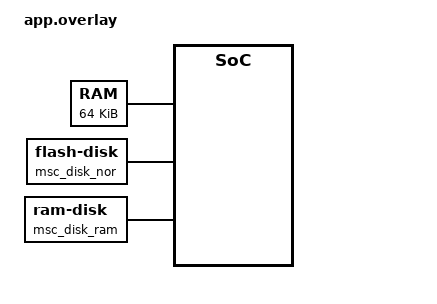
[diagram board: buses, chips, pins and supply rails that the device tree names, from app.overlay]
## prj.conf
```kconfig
CONFIG_LOG=y
CONFIG_PRINTK=y

# The following zephyr cast results in temporary high stack usage on the thread mounting FATFS.
# While the FATFS structs are static and thus do not take up any space on the stack, C casts
# create a temporary variable and as the FATFS struct is ~4KB this results in high stack usage.
# C:\ncs\vX.X.X\zephyr\subsys\fs\fat_fs.c:451 `f_mount((FATFS *)mountp->fs_data, ...);`
CONFIG_MAIN_STACK_SIZE=8192

CONFIG_NORDIC_QSPI_NOR=y
CONFIG_NORDIC_QSPI_NOR_FLASH_LAYOUT_PAGE_SIZE=4096

CONFIG_FLASH=y
CONFIG_FLASH_MAP=y
CONFIG_DISK_ACCESS=y
CONFIG_DISK_DRIVERS=y
CONFIG_DISK_DRIVER_RAM=y
CONFIG_DISK_DRIVER_FLASH=y
CONFIG_FILE_SYSTEM=y
CONFIG_FAT_FILESYSTEM_ELM=y

CONFIG_FS_FATFS_MAX_SS=4096
```

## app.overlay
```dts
/ {
    chosen {
        nordic,pm-ext-flash = &mx25r64;
    };
    disk_nor: mx25r64 {
        /*
         * NOTE: Actual partition placement and size is controlled by the partition manager.
         * Instead of creating an ignored partition in device tree we can
         * create this empty phandle to enable the flash-disk driver.
         *
         * The sector-size configuration is also not passed to FATFS
         * and must be set with CONFIG_FS_FATFS_MAX_SS in the prj.conf
         */
    };
    disk_ram: memory@20060000 {
        compatible = "mmio-sram";
        reg = <0x20060000 0x00010000>;
    };
    msc_disk_nor {
        status = "okay";
        compatible = "zephyr,flash-disk";
        partition = <&disk_nor>;
        disk-name = "SD";
        sector-size = <4096>;
        cache-size = <4096>;
    };
    msc_disk_ram {
        status = "okay";
        compatible = "zephyr,ram-disk";
        disk-name = "RAM";
        sector-size = <512>;
        sector-count = <128>;
        ram-region = <&disk_ram>;
    };
};
```

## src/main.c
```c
#include <zephyr/kernel.h>
#include <zephyr/device.h>
#include <zephyr/storage/disk_access.h>
#include <zephyr/logging/log.h>
#include <zephyr/fs/fs.h>

#include <ff.h>

/*
 *  Note the fatfs library is able to mount only strings inside _VOLUME_STRS
 *  in ffconf.h
 */
#define DISK_DRIVE_NAME "SD"
#define DISK_MOUNT_PT "/"DISK_DRIVE_NAME":"

static FATFS fat_fs;
static struct fs_mount_t mp = {
    .type = FS_FATFS,
    .fs_data = &fat_fs,
};

#define FS_RET_OK FR_OK

LOG_MODULE_REGISTER(fs_sample_main, LOG_LEVEL_DBG);

#define MAX_PATH 128
#define SOME_FILE_NAME "some.dat"
#define SOME_DIR_NAME "some"
#define SOME_REQUIRED_LEN MAX(sizeof(SOME_FILE_NAME), sizeof(SOME_DIR_NAME))

static int lsdir(const char *path);
static bool create_some_entries(const char *base_path)
{
    char path[MAX_PATH];
    struct fs_file_t file;
    int base = strlen(base_path);

    fs_file_t_init(&file);

    if (base >= (sizeof(path) - SOME_REQUIRED_LEN)) {
        LOG_ERR("Not enough concatenation buffer to create file paths");
        return false;
    }

    LOG_INF("Creating some dir entries in %s", base_path);
    strncpy(path, base_path, sizeof(path));

    path[base++] = '/';
    path[base] = 0;
    strcat(&path[base], SOME_FILE_NAME);

    if (fs_open(&file, path, FS_O_CREATE) != 0) {
        LOG_ERR("Failed to create file %s", path);
        return false;
    }
    fs_close(&file);

    path[base] = 0;
    strcat(&path[base], SOME_DIR_NAME);

    if (fs_mkdir(path) != 0) {
        LOG_ERR("Failed to create dir %s", path);
    }
    return true;
}

static const char *disk_mount_pt = DISK_MOUNT_PT;

int main(void)
{
    do {
        static const char *disk_pdrv = DISK_DRIVE_NAME;
        uint64_t memory_size_mb;
        uint32_t block_count;
        uint32_t block_size;

        if (disk_access_ioctl(disk_pdrv,
                DISK_IOCTL_CTRL_INIT, NULL) != 0) {
            LOG_ERR("Storage init ERROR!");
            break;
        }

        if (disk_access_ioctl(disk_pdrv,
                DISK_IOCTL_GET_SECTOR_COUNT, &block_count)) {
            LOG_ERR("Unable to get sector count");
            break;
        }
        LOG_INF("Block count %u", block_count);

        if (disk_access_ioctl(disk_pdrv,
                DISK_IOCTL_GET_SECTOR_SIZE, &block_size)) {
            LOG_ERR("Unable to get sector size");
            break;
        } else if (block_size > sizeof(fat_fs.win)) {
            LOG_ERR("Sector size %u is larger than FF_MAX_SS %u\n\
                    set CONFIG_FS_FATFS_MAX_SS=%u\n",
                    block_size, sizeof(fat_fs.win), block_size);
            break;
        } else {
            printk("Sector size %u\n", block_size);
        }

        memory_size_mb = (uint64_t)block_count * block_size;
        printk("Memory Size(MB) %u\n", (uint32_t)(memory_size_mb >> 20));

        if (disk_access_ioctl(disk_pdrv,
                DISK_IOCTL_CTRL_DEINIT, NULL) != 0) {
            LOG_ERR("Storage deinit ERROR!");
            break;
        }
    } while (0);

    mp.mnt_point = disk_mount_pt;

    int res = fs_mount(&mp);

    if (res == FS_RET_OK) {
        printk("Disk mounted.\n");

        if (lsdir(disk_mount_pt) == 0) {
            if (create_some_entries(disk_mount_pt)) {
                lsdir(disk_mount_pt);
            }
        }
    } else {
        printk("Error mounting disk.\n");
    }

    fs_unmount(&mp);

    while (1) {
        k_sleep(K_MSEC(1000));
    }
    return 0;
}

static int lsdir(const char *path)
{
    int res;
    struct fs_dir_t dirp;
    static struct fs_dirent entry;
    int count = 0;

    fs_dir_t_init(&dirp);

    res = fs_opendir(&dirp, path);
    if (res) {
        printk("Error opening dir %s [%d]\n", path, res);
        return res;
    }

    printk("\nListing dir %s ...\n", path);
    for (;;) {
        res = fs_readdir(&dirp, &entry);

        if (res || entry.name[0] == 0) {
            break;
        }

        if (entry.type == FS_DIR_ENTRY_DIR) {
            printk("[DIR ] %s\n", entry.name);
        } else {
            printk("[FILE] %s (size = %zu)\n",
                entry.name, entry.size);
        }
        count++;
    }

    fs_closedir(&dirp);
    if (res == 0) {
        res = count;
    }

    return res;
}
```
